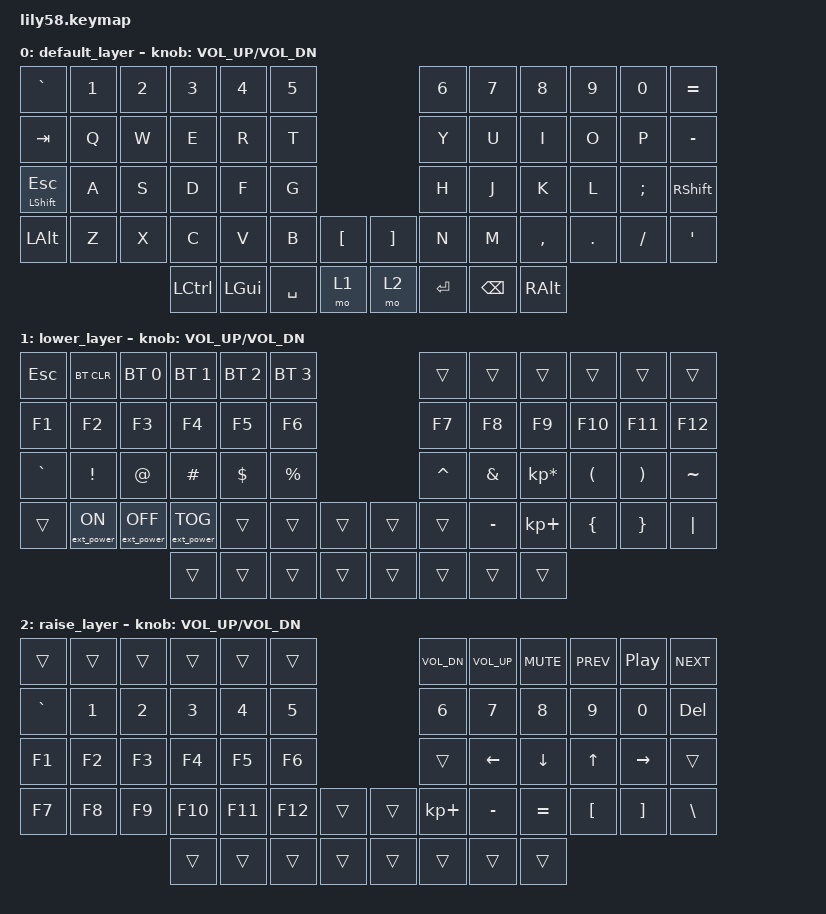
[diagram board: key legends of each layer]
/*
 * Copyright (c) 2020 The ZMK Contributors
 *
 * SPDX-License-Identifier: MIT
 */

#include <behaviors.dtsi>
#include <dt-bindings/zmk/keys.h>
#include <dt-bindings/zmk/bt.h>
#include <dt-bindings/zmk/ext_power.h>



/ {
	keymap {
		compatible = "zmk,keymap";

		default_layer {
// ------------------------------------------------------------------------------------------------------------
// |   `   |  1  |  2  |  3   |  4   |  5   |                   |  6   |  7    |  8    |  9   |   0   |   =   |
// |  TAB  |  Q  |  W  |  E   |  R   |  T   |                   |  Y   |  U    |  I    |  O   |   P   |   -   |
// | SHIFT |  A  |  S  |  D   |  F   |  G   |                   |  H   |  J    |  K    |  L   |   ;   | SHIFT |
// |  ALT  |  Z  |  X  |  C   |  V   |  B   |   "["  |  |  "]"  |  N   |  M    |  ,    |  .   |   /   |   '   |
//                     | CTRL | GUI  | SPACE|  LOWER |  | RAISE | ENTER| BSPC  |  ALT  |
			bindings = <
&kp GRAVE       &kp N1 &kp N2 &kp N3    &kp N4   &kp N5                         &kp N6   &kp N7   &kp N8    &kp N9  &kp N0   &kp EQUAL
&kp TAB         &kp Q  &kp W  &kp E     &kp R    &kp T                          &kp Y    &kp U    &kp I     &kp O   &kp P    &kp MINUS
&mt LSHIFT ESC  &kp A  &kp S  &kp D     &kp F    &kp G                          &kp H    &kp J    &kp K     &kp L   &kp SEMI &kp RSHFT
&kp LALT        &kp Z  &kp X  &kp C     &kp V    &kp B      &kp LBKT   &kp RBKT &kp N    &kp M    &kp COMMA &kp DOT &kp FSLH &kp SQT
                              &kp LCTRL &kp LGUI &kp SPACE  &mo 1      &mo 2    &kp RET  &kp BSPC &kp RALT
			>;

			sensor-bindings = <&inc_dec_kp C_VOL_UP C_VOL_DN>;
		};

		lower_layer {
// --------------------------------------------------------------------------------------------------------------
// |  ESC | BTCLR | BT1 |  BT2 |  BT3 |  BT4  |                   |      |       |       |      |       |       |
// |  F1  |   F2  |  F3 |  F4  |  F5  |  F6   |                   |  F7  |  F8   |  F9   |  F10 |  F11  |  F12  |
// |   `  |   !   |  @  |  #   |  $   |  %    |                   |  ^   |  &    |  *    |  (   |   )   |   ~   |
// |      |       |     |      |      |       |        |  |       |      |  _    |  +    |  {   |   }   |  "|"  |
//                      |      |      |       |        |  |       |      |       |       |
			bindings = <
&kp ESC    &bt BT_CLR       &bt BT_SEL 0     &bt BT_SEL 1       &bt BT_SEL 2 &bt BT_SEL 3                 &trans    &trans    &trans          &trans    &trans    &trans
&kp F1     &kp F2           &kp F3            &kp F4            &kp F5       &kp F6                       &kp F7    &kp F8    &kp F9          &kp F10   &kp F11   &kp F12
&kp GRAVE  &kp EXCL         &kp AT            &kp HASH          &kp DOLLAR   &kp PRCNT                    &kp CARET &kp AMPS  &kp KP_MULTIPLY &kp LPAR  &kp RPAR  &kp TILDE
&trans     &ext_power EP_ON &ext_power EP_OFF &ext_power EP_TOG &trans       &trans    &trans   &trans    &trans    &kp MINUS &kp KP_PLUS     &kp LBRC  &kp RBRC  &kp PIPE
                                              &trans            &trans       &trans    &trans   &trans    &trans    &trans    &trans
			>;

			sensor-bindings = <&inc_dec_kp C_VOL_UP C_VOL_DN>;
		};

		raise_layer {
// -------------------------------------------------------------------------------------------------------------
// |       |     |     |      |      |      |                   | V_DN | V_UP  | C_MUT | C_PRV |  C_PP | C_NEX |
// |   `   |  1  |  2  |  3   |  4   |  5   |                   |  6   |   7   |   8   |   9   |   0   |       |
// |   F1  |  F2 |  F3 |  F4  |  F5  |  F6  |                   |      |   <-  |   v   |   ^   |  ->   |       |
// |   F7  |  F8 |  F9 |  F10 |  F11 |  F12 |        |  |       |  +   |   -   |   =   |   [   |   ]   |   \   |
//                     |      |      |      |        |  |       |      |       |       |
			bindings = <
&trans    &trans &trans &trans  &trans  &trans                       &kp C_VOL_DN    &kp C_VOL_UP    &kp C_MUTE    &kp C_PREV   &kp C_PP   &kp C_NEXT
&kp GRAVE &kp N1 &kp N2 &kp N3  &kp N4  &kp N5                       &kp N6          &kp N7          &kp N8        &kp N9       &kp N0     &kp DEL
&kp F1    &kp F2 &kp F3 &kp F4  &kp F5  &kp F6                       &trans          &kp LEFT        &kp DOWN      &kp UP       &kp RIGHT  &trans
&kp F7    &kp F8 &kp F9 &kp F10 &kp F11 &kp F12   &trans   &trans    &kp KP_PLUS     &kp MINUS       &kp EQUAL     &kp LBKT     &kp RBKT   &kp BSLH
                        &trans  &trans  &trans    &trans   &trans    &trans          &trans          &trans
			>;

			sensor-bindings = <&inc_dec_kp C_VOL_UP C_VOL_DN>;
		};
	};
};
